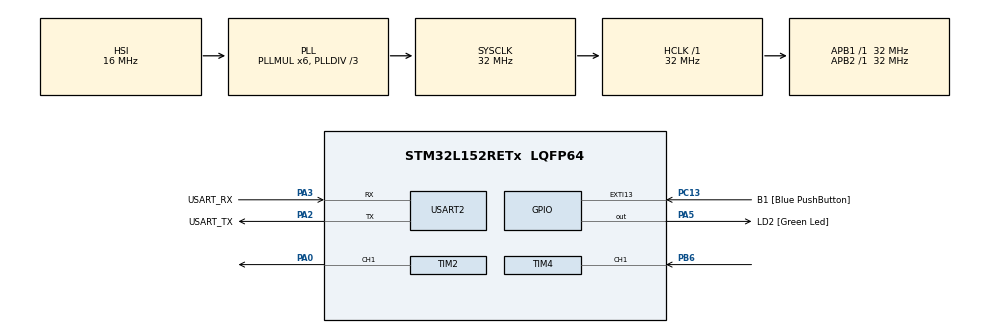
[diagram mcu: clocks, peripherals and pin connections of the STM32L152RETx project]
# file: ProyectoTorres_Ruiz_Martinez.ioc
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Mcu.Family=STM32L1
Mcu.Name=STM32L152RETx
Mcu.Package=LQFP64
NVIC.PriorityGroup=NVIC_PRIORITYGROUP_0
NVIC.TIM3_IRQn=true\:0\:0\:false\:false\:true\:true\:true\:true
NVIC.TIM4_IRQn=true\:0\:0\:false\:false\:true\:true\:true\:true
PA0-WKUP1.Signal=S_TIM2_CH1_ETR
PA13.GPIO_Label=TMS
PA13.Mode=Serial_Wire
PA13.Signal=SYS_JTMS-SWDIO
PA14.GPIO_Label=TCK
PA14.Mode=Serial_Wire
PA14.Signal=SYS_JTCK-SWCLK
PA2.GPIO_Label=USART_TX
PA2.Mode=Asynchronous
PA2.Signal=USART2_TX
PA3.GPIO_Label=USART_RX
PA3.Mode=Asynchronous
PA3.Signal=USART2_RX
PA5.GPIO_Label=LD2 [Green Led]
PA5.Signal=GPIO_Output
PB3.GPIO_Label=SWO
PB3.Signal=SYS_JTDO-TRACESWO
PB6.Signal=S_TIM4_CH1
PC13-WKUP2.GPIO_Label=B1 [Blue PushButton]
PC13-WKUP2.Signal=GPXTI13
PC14-OSC32_IN.Mode=LSE-External-Oscillator
PC14-OSC32_IN.Signal=RCC_OSC32_IN
PC15-OSC32_OUT.Mode=LSE-External-Oscillator
PC15-OSC32_OUT.Signal=RCC_OSC32_OUT
PH0-OSC_IN.Mode=HSE-External-Clock-Source
PH0-OSC_IN.Signal=RCC_OSC_IN
PH1-OSC_OUT.Signal=RCC_OSC_OUT
ProjectManager.HeapSize=0x200
ProjectManager.StackSize=0x400
ProjectManager.TargetToolchain=STM32CubeIDE
RCC.48MHZClocksFreq_Value=48000000
RCC.AHBFreq_Value=32000000
RCC.APB1Freq_Value=32000000
RCC.APB1TimFreq_Value=32000000
RCC.APB2Freq_Value=32000000
RCC.APB2TimFreq_Value=32000000
RCC.HCLKFreq_Value=32000000
RCC.HSE_VALUE=8000000
RCC.HSI_VALUE=16000000
RCC.MSI_VALUE=2097000
RCC.PLLDIV=RCC_PLL_DIV3
RCC.PLLMUL=RCC_PLL_MUL6
RCC.RTCClockSelectionVirtual=RCC_RTCCLKSOURCE_LSE
RCC.SYSCLKFreq_VALUE=32000000
RCC.SYSCLKSource=RCC_SYSCLKSOURCE_PLLCLK
RCC.USBOutput=48000000
RCC.VCOOutputFreq_Value=96000000
SH.S_TIM2_CH1_ETR.0=TIM2_CH1,PWM Generation1 CH1
SH.S_TIM4_CH1.0=TIM4_CH1,Input_Capture1_from_TI1
TIM2.AutoReloadPreload=TIM_AUTORELOAD_PRELOAD_ENABLE
TIM2.Channel-PWM\ Generation1\ CH1=TIM_CHANNEL_1
TIM2.Period=2000-1
TIM2.Prescaler=320-1
TIM3.Period=18
TIM3.Prescaler=31
TIM4.Channel-Input_Capture1_from_TI1=TIM_CHANNEL_1
TIM4.ICPolarity_CH1=TIM_INPUTCHANNELPOLARITY_BOTHEDGE
TIM4.Prescaler=31
USART2.VirtualMode=VM_ASYNC
VP_TIM2_VS_ClockSourceINT.Mode=Internal
VP_TIM3_VS_ClockSourceINT.Mode=Internal
VP_TIM4_VS_ClockSourceINT.Mode=Internal
board=NUCLEO-L152RE

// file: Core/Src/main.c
/* USER CODE BEGIN Header */
/**
  ******************************************************************************
  * @file           : main.c
  * @brief          : Main program body
  ******************************************************************************
  * @attention
  *
  * Copyright (c) 2025 STMicroelectronics.
  * All rights reserved.
  *
  * This software is licensed under terms that can be found in the LICENSE file
  * in the root directory of this software component.
  * If no LICENSE file comes with this software, it is provided AS-IS.
  *
  ******************************************************************************
  */
/* USER CODE END Header */
#include "main.h"

/* USER CODE BEGIN Includes */
#include <stdbool.h>
#include <stdio.h>
#include <string.h>

/* USER CODE END Includes */

TIM_HandleTypeDef htim2;
TIM_HandleTypeDef htim3;
TIM_HandleTypeDef htim4;

UART_HandleTypeDef huart2;

/* USER CODE BEGIN PV */
int ISRCounter = 0;
uint32_t timeThreshold = 50; //50ms para que ignore pulsaciones accidentales
uint32_t startTime1=0, startTime2=0, startTime3=0, startTime4=0;
uint8_t boton;      //variable para girar el servo
int modoManual ; // 1: Modo manual, 0: Modo automático
uint8_t captura=1;
uint32_t X;
uint32_t Y;
uint32_t Z;
uint32_t distancia;
uint8_t send;
uint32_t vpotenciometro;
uint32_t vccr;
/* USER CODE END PV */

void SystemClock_Config(void);
static void MX_GPIO_Init(void);
static void MX_USART2_UART_Init(void);
static void MX_TIM2_Init(void);
static void MX_TIM3_Init(void);
static void MX_TIM4_Init(void);

int main(void)
{

  /* MCU Configuration--------------------------------------------------------*/

  /* Reset of all peripherals, Initializes the Flash interface and the Systick. */
  HAL_Init();

  /* Configure the system clock */
  SystemClock_Config();

  /* Initialize all configured peripherals */
  MX_GPIO_Init();
  MX_USART2_UART_Init();
  MX_TIM2_Init();
  MX_TIM3_Init();
  MX_TIM4_Init();
  /* USER CODE BEGIN 2 */
  RCC->AHBENR |= (RCC_AHBENR_GPIOBEN | RCC_AHBENR_GPIOCEN);// Esto para activar los relojes de los pines
    HAL_TIM_PWM_Start(&htim2, TIM_CHANNEL_1); //Iniciamos la PWM

  // LED LD1 es PC0

    	  // Con el moder es Para ponerlo en digital output  un 0 y un 1
	  	GPIOC->MODER   &= ~(1<<(2*0+1)); //Aqui un 0 en bit 1
        GPIOC->MODER   |=  (1<<2*0);// Aqui un 1 en el bit 0
        //Con el PUPDR lo ponemos a 00 ambos bits para que no haya ni pull up ni pull down
        GPIOC->PUPDR &= ~(1 << (2*0));     // Borra el bit 0 de PUPDR0 (PC0)
        GPIOC->PUPDR &= ~(1 << (2*0+1)); // Borra el bit 1 de PUPDR0 (PC0)//

  // LED LD2 es PC1

        // Con el moder es Para ponerlo en digital output  un 0 y un 1
        GPIOC->MODER   &= ~(1<<(2*1+1));//Aqui un 0 en bit 3
        GPIOC->MODER   |=  (1<<2*1);// Aqui un 1 en el bit 2
        //Con el PUPDR lo ponemos a 00 ambos bits para que no haya ni pull up ni pull down
        GPIOC->PUPDR &= ~(1 << (2*1));     // Borra el bit 2 de PUPDR0 (PC1)
        GPIOC->PUPDR &= ~(1 << (2 *1+1)); // Borra el bit 3 de PUPDR0 (PC1)

  // Boton USER (B1) es PC13
        GPIOC->MODER &= ~(1 << (2*13));     // Borra el bit 0 de MODER13 (pin de entrada)
        GPIOC->MODER &= ~(1 << (2*13 + 1)); // Borra el bit 1 de MODER13 (pin de entrada)
        GPIOC->PUPDR &= ~(1 << (2*13));     // Borra el bit 0 de PUPDR13 (sin resistencia pull-up o pull-down)
        GPIOC->PUPDR |= (1 << (2*13 + 1));  // Activa resistencia pull-down en PC13 (por defecto)

  // Interrupción EXTI13 para PC13
        EXTI->FTSR |=  (1<<13);             // Habilita la señal de bajada (flanco de bajada)
        EXTI->RTSR &= ~(1<<13);             // Deshabilita el flanco de subida
        SYSCFG->EXTICR[3] &= ~((1<<4)|(1<<5)|(1<<6)|(1<<7)); // Borra bits de configuración para EXTI13
        SYSCFG->EXTICR[3] |= (2<<4);       // Asigna el pin PC13 al EXTI13
        EXTI->IMR |= (1<<13);              // Habilita la interrupción para EXTI13
        NVIC->ISER[1] |= (1<<8);          // Habilita la interrupción en el NVIC para EXTI13

  // Boton B1 es PB1

        GPIOB->MODER &= ~(1 << (2*1));     // Borra el bit 0 de MODER1
        GPIOB->MODER &= ~(1 << (2*1 +1)); // Borra el bit 1 de MODER1
        // Configurar PUPDR (resistencias pull-up/pull-down en PB1)
        GPIOB->PUPDR &= ~(1 << (2*1));     // Borra el bit 0 de PUPDR1
        GPIOB->PUPDR &= ~(1 << (2*1 +1)); // Borra el bit 1 de PUPDR1

  // Interrupcion EXTI1 a PB1

        EXTI->FTSR |=  (1<<1);         // Habilita la señal de bajada
        EXTI->RTSR &= ~(1<<1);         //Desabilita el flanco de subida
        SYSCFG->EXTICR[0] &= ((1<<4)|(1<<5)|(1<<6)|(1<<7));//~0b1111;  //borrar bits
        SYSCFG->EXTICR[0] |= (1<<4); //0b0001;  //Asignar del pin 0 al pin 3 del GPIOB
        EXTI->IMR |= (1<<1);
        NVIC->ISER[0] |= (1<<7);

  // Boton B2 es PB2

        GPIOB->MODER &= ~(1 << (2*2));     // Borra el bit 0 de MODER1
        GPIOB->MODER &= ~(1 << (2*2 +1)); // Borra el bit 1 de MODER1
        // Configurar PUPDR (resistencias pull-up/pull-down en PB1)
        GPIOB->PUPDR &= ~(1 << (2*2));     // Borra el bit 0 de PUPDR1
        GPIOB->PUPDR &= ~(1 << (2*2+1)); // Borra el bit 1 de PUPDR1

  // Interrupcion EXTI2 a PB2

        EXTI->FTSR |=  (1<<2);
        EXTI->RTSR &= ~(1<<2);
        SYSCFG->EXTICR[0] &= ~((1<<8)|(1<<9)|(1<<10)|(1<<11));//((1<<4)|(1<<5)|(1<<6)|(1<<7));
        SYSCFG->EXTICR[0] |=  (1<<8);//(1<<4);
        EXTI->IMR |= (1<<2);
        NVIC->ISER[0] |= (1<<8);

  // Boton B3 es PB3

        GPIOB->MODER &= ~(1 << (2*3));     // Borra el bit 0 de MODER1
        GPIOB->MODER &= ~(1 << (2*3+1)); // Borra el bit 1 de MODER1
        // Configurar PUPDR (resistencias pull-up/pull-down en PB1)
        GPIOB->PUPDR &= ~(1 << (2*3));     // Borra el bit 0 de PUPDR1
        GPIOB->PUPDR &= ~(1 << (2*3+1)); // Borra el bit 1 de PUPDR1

  // Interrupcion EXTI3

        EXTI->FTSR |=  (1<<3);
        EXTI->RTSR &= ~(1<<3);
        SYSCFG->EXTICR[0] &= ~ ((1<<12)|(1<<13)|(1<<14)|(1<<15));//~((1<<8)|(1<<9)|(1<<10)|(1<<11));
        SYSCFG->EXTICR[0] |= (1<<12);//(1<<8);
        EXTI->IMR |= (1<<3);
        NVIC->ISER[0] |= (1<<9);

  // Boton B4 es PB4

        GPIOB->MODER &= ~(1 << (2*4));     // Borra el bit 0 de MODER1
        GPIOB->MODER &= ~(1 << (2*4+1)); // Borra el bit 1 de MODER1
        // Configurar PUPDR (resistencias pull-up/pull-down en PB1)
        GPIOB->PUPDR &= ~(1 << (2*4));     // Borra el bit 0 de PUPDR1
        GPIOB->PUPDR &= ~(1 << (2*4+1)); // Borra el bit 1 de PUPDR1

  // Interrupcion EXTI4

        EXTI->FTSR |=  (1<<4);
        EXTI->RTSR &= ~(1<<4);
        SYSCFG->EXTICR[1] &= ~ ((1<<0)|(1<<1)|(1<<2)|(1<<3));//((1<<12)|(1<<13)|(1<<14)|(1<<15));
        SYSCFG->EXTICR[1] |= (1<<0); //(1<<12);
        EXTI->IMR |= (1<<4);
        NVIC->ISER[0] |= (1<<10);

   //Indicamos un valor de PWM para que vuela a la posicion inicial
   __HAL_TIM_SET_COMPARE(&htim2, TIM_CHANNEL_1, 150);
   char buf[50];  // Buffer para el mensaje
  /* USER CODE END 2 */
   modoManual=1;
  /* Infinite loop */
  /* USER CODE BEGIN WHILE */
   HAL_TIM_PWM_Start(&htim2, TIM_CHANNEL_1);  //activa la señal PWM en el canal 1
   GPIOC->MODER &= ~(0x03 << (2 * 4));   // Limpiar los bits 8 y 9 (modo de PC4)
   GPIOC->MODER |= (0x01 << (2 * 4));    // Establecer PC4 como salida (01 en MODER)
   // Configuramos el pin PC4 para que no use resistencias pull-up ni pull-down
   GPIOC->PUPDR &= ~(0x03 << (2 * 4));

   while (1)
      {
          if (modoManual == 1)
          {
              switch (boton)
              {
                  case 1:  //Boton==1

                	  //Movimiento del servo 50=1ms -> -90º
                      __HAL_TIM_SET_COMPARE(&htim2, TIM_CHANNEL_1, 50); //50=1ms -90º

                      //Medicion de la distancia
                      GPIOC->BSRR |= (1 << 4); // Trigger HIGH (PC4)
                      __HAL_TIM_SET_COUNTER(&htim3, 0);
                      HAL_TIM_Base_Start_IT(&htim3); // Temporizador para bajar el Trigger después de 10 us
                      __HAL_TIM_SET_COUNTER(&htim4, 0); //Reseteo para evitar valores residuales
                      HAL_TIM_IC_Start_IT(&htim4, TIM_CHANNEL_1); // Activar captura de Echo

                      sprintf(buf, "La distancia es: %lu mm\r\n", distancia);
                      HAL_UART_Transmit(&huart2, (uint8_t *)buf, strlen(buf), 0xFFFFFFFF);

                      //Captura y reinicio
                      captura = 0; //Ya capturado
                      boton = 0; //Reinicia el boton
                      break;

                  case 2:  //Boton==2

                      //Movimiento del servo 100=1.3ms -> -30º
                      __HAL_TIM_SET_COMPARE(&htim2, TIM_CHANNEL_1, 100); //50=1ms -30º

                      //Medicion de la distancia
                      GPIOC->BSRR |= (1 << 4); // Trigger HIGH (PC4)
                      __HAL_TIM_SET_COUNTER(&htim3, 0);
                      HAL_TIM_Base_Start_IT(&htim3); // Temporizador para bajar el Trigger después de 10 us
                      __HAL_TIM_SET_COUNTER(&htim4, 0); //Reseteo para evitar valores residuales
                      HAL_TIM_IC_Start_IT(&htim4, TIM_CHANNEL_1); // Activar captura de Echo

                      sprintf(buf, "La distancia es: %lu mm\r\n", distancia);
                      HAL_UART_Transmit(&huart2, (uint8_t *)buf, strlen(buf), 0xFFFFFFFF);

                      //Captura y reinicio
                      captura = 0; //Ya capturado
                      boton = 0; //Reinicia el boton
                      break;

                  case 3:  //Boton==3
                      //Movimiento del servo 200=1ms -> -30º
                      __HAL_TIM_SET_COMPARE(&htim2, TIM_CHANNEL_1, 200); //200=1.8ms 30º

                      //Medicion de la distancia
                      GPIOC->BSRR |= (1 << 4); // Trigger HIGH (PC4)
                      __HAL_TIM_SET_COUNTER(&htim3, 0);
                      HAL_TIM_Base_Start_IT(&htim3); // Temporizador para bajar el Trigger después de 10 us
                      __HAL_TIM_SET_COUNTER(&htim4, 0); //Reseteo para evitar valores residuales
                      HAL_TIM_IC_Start_IT(&htim4, TIM_CHANNEL_1); // Activar captura de Echo

                      sprintf(buf, "La distancia es: %lu mm\r\n", distancia);
                      HAL_UART_Transmit(&huart2, (uint8_t *)buf, strlen(buf), 0xFFFFFFFF);

                      //Captura y reinicio
                      captura = 0; //Ya capturado
                      boton = 0; //Reinicia el boton
                      break;

                  case 4: //Boton==4

                	  //Movimiento del servo 250=2ms -> 90º
                      __HAL_TIM_SET_COMPARE(&htim2, TIM_CHANNEL_1, 250); //250=2ms 90º

                      //Medicion de la distancia
                      GPIOC->BSRR |= (1 << 4); // Trigger HIGH (PC4)
                      __HAL_TIM_SET_COUNTER(&htim3, 0);
                      HAL_TIM_Base_Start_IT(&htim3); // Temporizador para bajar el Trigger después de 10 us
                      __HAL_TIM_SET_COUNTER(&htim4, 0); //Reseteo para evitar valores residuales
                      HAL_TIM_IC_Start_IT(&htim4, TIM_CHANNEL_1); // Activar captura de Echo

                      sprintf(buf, "La distancia es: %lu mm\r\n", distancia);
                      HAL_UART_Transmit(&huart2, (uint8_t *)buf, strlen(buf), 0xFFFFFFFF);

                      //Captura y reinicio
                      captura = 0; //Ya capturado
                      boton = 0; //Reinicia el boton
                      break;
              }
          }
          // Control en modo automático(modoManual == 0)// Si está en modo automático
          else if(modoManual==0)
          {
		  //Movimiento del servo 50=1ms -> -90º
        	  __HAL_TIM_SET_COMPARE(&htim2, TIM_CHANNEL_1, 50); //50=1ms -90

        	  //Medicion de la distancia
        	  GPIOC->BSRR |= (1 << 4); // Trigger HIGH (PC4)
        	  __HAL_TIM_SET_COUNTER(&htim3, 0);
        	  HAL_TIM_Base_Start_IT(&htim3); // Temporizador para bajar el Trigger después de 10 us
        	  __HAL_TIM_SET_COUNTER(&htim4, 0); //Reseteo para evitar valores residuales
        	  HAL_TIM_IC_Start_IT(&htim4, TIM_CHANNEL_1); // Activar captura de Echo

        	  sprintf(buf, "La distancia es: %lu mm\r\n", distancia);
        	  HAL_UART_Transmit(&huart2, (uint8_t *)buf, strlen(buf), 0xFFFFFFFF);

        	  //Captura
        	  captura = 0; //Ya capturado

		  //Movimiento del servo 100=1.3ms -> -30º
        	  __HAL_TIM_SET_COMPARE(&htim2, TIM_CHANNEL_1, 100); //100=1.3ms -30º

        	  //Medicion de la distancia
        	  GPIOC->BSRR |= (1 << 4); // Trigger HIGH (PC4)
        	  __HAL_TIM_SET_COUNTER(&htim3, 0);
        	  HAL_TIM_Base_Start_IT(&htim3); // Temporizador para bajar el Trigger después de 10 us
        	  __HAL_TIM_SET_COUNTER(&htim4, 0); //Reseteo para evitar valores residuales
        	  HAL_TIM_IC_Start_IT(&htim4, TIM_CHANNEL_1); // Activar captura de Echo

        	  sprintf(buf, "La distancia es: %lu mm\r\n", distancia);
        	  HAL_UART_Transmit(&huart2, (uint8_t *)buf, strlen(buf), 0xFFFFFFFF);

        	  //Captura
        	  captura = 0; //Ya capturado

		  //Movimiento del servo 200=1.8ms -> 30º
        	  __HAL_TIM_SET_COMPARE(&htim2, TIM_CHANNEL_1, 200); //50=1ms 30º

        	  //Medicion de la distancia
        	  GPIOC->BSRR |= (1 << 4); // Trigger HIGH (PC4)
        	  __HAL_TIM_SET_COUNTER(&htim3, 0);
        	  HAL_TIM_Base_Start_IT(&htim3); // Temporizador para bajar el Trigger después de 10 us
        	  __HAL_TIM_SET_COUNTER(&htim4, 0); //Reseteo para evitar valores residuales
        	  HAL_TIM_IC_Start_IT(&htim4, TIM_CHANNEL_1); // Activar captura de Echo

        	  sprintf(buf, "La distancia es: %lu mm\r\n", distancia);
        	  HAL_UART_Transmit(&huart2, (uint8_t *)buf, strlen(buf), 0xFFFFFFFF);

        	  //Captura
        	  captura = 0; //Ya capturado

		  //Movimiento del servo 250=1ms -> 90º
        	  __HAL_TIM_SET_COMPARE(&htim2, TIM_CHANNEL_1, 250); //50=1ms 90º

        	  //Medicion de la distancia
        	  GPIOC->BSRR |= (1 << 4); // Trigger HIGH (PC4)
        	  __HAL_TIM_SET_COUNTER(&htim3, 0);
        	  HAL_TIM_Base_Start_IT(&htim3); // Temporizador para bajar el Trigger después de 10 us
        	  __HAL_TIM_SET_COUNTER(&htim4, 0); //Reseteo para evitar valores residuales
        	  HAL_TIM_IC_Start_IT(&htim4, TIM_CHANNEL_1); // Activar captura de Echo

        	  sprintf(buf, "La distancia es: %lu mm\r\n", distancia);
        	  HAL_UART_Transmit(&huart2, (uint8_t *)buf, strlen(buf), 0xFFFFFFFF);

        	  //Captura
        	  captura = 0; //Ya capturado

          }
      }
  /* USER CODE END 3 */
}

void HAL_TIM_PeriodElapsedCallback (TIM_HandleTypeDef *htim)
{
	if(htim->Instance==TIM3) //control de pulso
	{
		GPIOC->BSRR |= (1<<20); //reset EL TRIGGER
		//captura =0;
	}
}
void HAL_TIM_IC_CaptureCallback(TIM_HandleTypeDef*htim)
{
	if(htim->Channel==HAL_TIM_ACTIVE_CHANNEL_1)
	{
		if(captura==0) //si captura es 0
		{
			X=HAL_TIM_ReadCapturedValue(htim,TIM_CHANNEL_1); //Captiramos el valor en X
			captura=1;                                       //Ya capurado
		}
		else
		{

			Y=HAL_TIM_ReadCapturedValue(htim,TIM_CHANNEL_1); // Si captura no es 1 se captura en Y

			if(Y>X)
			{
				Z=Y-X;
				distancia=(Z*10)/58;    //Calculamos la diferencia
				send=1;                //Activamos
			}
			else if(X>Y)
			{				//Significa que hay desbordamiento
				Z=(0xffff-X)+Y;
				distancia=(Z*10)/58;
				send=1;
			}
		}
	}
}
void SystemClock_Config(void)
{
  RCC_OscInitTypeDef RCC_OscInitStruct = {0};
  RCC_ClkInitTypeDef RCC_ClkInitStruct = {0};

  /** Configure the main internal regulator output voltage
  */
  __HAL_PWR_VOLTAGESCALING_CONFIG(PWR_REGULATOR_VOLTAGE_SCALE1);

  /** Initializes the RCC Oscillators according to the specified parameters
  * in the RCC_OscInitTypeDef structure.
  */
  RCC_OscInitStruct.OscillatorType = RCC_OSCILLATORTYPE_HSI;
  RCC_OscInitStruct.HSIState = RCC_HSI_ON;
  RCC_OscInitStruct.HSICalibrationValue = RCC_HSICALIBRATION_DEFAULT;
  RCC_OscInitStruct.PLL.PLLState = RCC_PLL_ON;
  RCC_OscInitStruct.PLL.PLLSource = RCC_PLLSOURCE_HSI;
  RCC_OscInitStruct.PLL.PLLMUL = RCC_PLL_MUL6;
  RCC_OscInitStruct.PLL.PLLDIV = RCC_PLL_DIV3;
  if (HAL_RCC_OscConfig(&RCC_OscInitStruct) != HAL_OK)
  {
    Error_Handler();
  }

  /** Initializes the CPU, AHB and APB buses clocks
  */
  RCC_ClkInitStruct.ClockType = RCC_CLOCKTYPE_HCLK|RCC_CLOCKTYPE_SYSCLK
                              |RCC_CLOCKTYPE_PCLK1|RCC_CLOCKTYPE_PCLK2;
  RCC_ClkInitStruct.SYSCLKSource = RCC_SYSCLKSOURCE_PLLCLK;
  RCC_ClkInitStruct.AHBCLKDivider = RCC_SYSCLK_DIV1;
  RCC_ClkInitStruct.APB1CLKDivider = RCC_HCLK_DIV1;
  RCC_ClkInitStruct.APB2CLKDivider = RCC_HCLK_DIV1;

  if (HAL_RCC_ClockConfig(&RCC_ClkInitStruct, FLASH_LATENCY_1) != HAL_OK)
  {
    Error_Handler();
  }
}

static void MX_TIM2_Init(void)
{

  TIM_ClockConfigTypeDef sClockSourceConfig = {0};
  TIM_MasterConfigTypeDef sMasterConfig = {0};
  TIM_OC_InitTypeDef sConfigOC = {0};

  htim2.Instance = TIM2;
  htim2.Init.Prescaler = 320-1;
  htim2.Init.CounterMode = TIM_COUNTERMODE_UP;
  htim2.Init.Period = 2000-1;
  htim2.Init.ClockDivision = TIM_CLOCKDIVISION_DIV1;
  htim2.Init.AutoReloadPreload = TIM_AUTORELOAD_PRELOAD_ENABLE;
  if (HAL_TIM_Base_Init(&htim2) != HAL_OK)
  {
    Error_Handler();
  }
  sClockSourceConfig.ClockSource = TIM_CLOCKSOURCE_INTERNAL;
  if (HAL_TIM_ConfigClockSource(&htim2, &sClockSourceConfig) != HAL_OK)
  {
    Error_Handler();
  }
  if (HAL_TIM_PWM_Init(&htim2) != HAL_OK)
  {
    Error_Handler();
  }
  sMasterConfig.MasterOutputTrigger = TIM_TRGO_RESET;
  sMasterConfig.MasterSlaveMode = TIM_MASTERSLAVEMODE_DISABLE;
  if (HAL_TIMEx_MasterConfigSynchronization(&htim2, &sMasterConfig) != HAL_OK)
  {
    Error_Handler();
  }
  sConfigOC.OCMode = TIM_OCMODE_PWM1;
  sConfigOC.Pulse = 0;
  sConfigOC.OCPolarity = TIM_OCPOLARITY_HIGH;
  sConfigOC.OCFastMode = TIM_OCFAST_DISABLE;
  if (HAL_TIM_PWM_ConfigChannel(&htim2, &sConfigOC, TIM_CHANNEL_1) != HAL_OK)
  {
    Error_Handler();
  }
  HAL_TIM_MspPostInit(&htim2);

}

static void MX_TIM3_Init(void)
{

  TIM_ClockConfigTypeDef sClockSourceConfig = {0};
  TIM_MasterConfigTypeDef sMasterConfig = {0};

  htim3.Instance = TIM3;
  htim3.Init.Prescaler = 31;
  htim3.Init.CounterMode = TIM_COUNTERMODE_UP;
  htim3.Init.Period = 18;
  htim3.Init.ClockDivision = TIM_CLOCKDIVISION_DIV1;
  htim3.Init.AutoReloadPreload = TIM_AUTORELOAD_PRELOAD_DISABLE;
  if (HAL_TIM_Base_Init(&htim3) != HAL_OK)
  {
    Error_Handler();
  }
  sClockSourceConfig.ClockSource = TIM_CLOCKSOURCE_INTERNAL;
  if (HAL_TIM_ConfigClockSource(&htim3, &sClockSourceConfig) != HAL_OK)
  {
    Error_Handler();
  }
  sMasterConfig.MasterOutputTrigger = TIM_TRGO_RESET;
  sMasterConfig.MasterSlaveMode = TIM_MASTERSLAVEMODE_DISABLE;
  if (HAL_TIMEx_MasterConfigSynchronization(&htim3, &sMasterConfig) != HAL_OK)
  {
    Error_Handler();
  }

}

static void MX_TIM4_Init(void)
{

  TIM_ClockConfigTypeDef sClockSourceConfig = {0};
  TIM_MasterConfigTypeDef sMasterConfig = {0};
  TIM_IC_InitTypeDef sConfigIC = {0};

  htim4.Instance = TIM4;
  htim4.Init.Prescaler = 31;
  htim4.Init.CounterMode = TIM_COUNTERMODE_UP;
  htim4.Init.Period = 65535;
  htim4.Init.ClockDivision = TIM_CLOCKDIVISION_DIV1;
  htim4.Init.AutoReloadPreload = TIM_AUTORELOAD_PRELOAD_DISABLE;
  if (HAL_TIM_Base_Init(&htim4) != HAL_OK)
  {
    Error_Handler();
  }
  sClockSourceConfig.ClockSource = TIM_CLOCKSOURCE_INTERNAL;
  if (HAL_TIM_ConfigClockSource(&htim4, &sClockSourceConfig) != HAL_OK)
  {
    Error_Handler();
  }
  if (HAL_TIM_IC_Init(&htim4) != HAL_OK)
  {
    Error_Handler();
  }
  sMasterConfig.MasterOutputTrigger = TIM_TRGO_RESET;
  sMasterConfig.MasterSlaveMode = TIM_MASTERSLAVEMODE_DISABLE;
  if (HAL_TIMEx_MasterConfigSynchronization(&htim4, &sMasterConfig) != HAL_OK)
  {
    Error_Handler();
  }
  sConfigIC.ICPolarity = TIM_INPUTCHANNELPOLARITY_BOTHEDGE;
  sConfigIC.ICSelection = TIM_ICSELECTION_DIRECTTI;
  sConfigIC.ICPrescaler = TIM_ICPSC_DIV1;
  sConfigIC.ICFilter = 0;
  if (HAL_TIM_IC_ConfigChannel(&htim4, &sConfigIC, TIM_CHANNEL_1) != HAL_OK)
  {
    Error_Handler();
  }

}

static void MX_USART2_UART_Init(void)
{

  huart2.Instance = USART2;
  huart2.Init.BaudRate = 115200;
  huart2.Init.WordLength = UART_WORDLENGTH_8B;
  huart2.Init.StopBits = UART_STOPBITS_1;
  huart2.Init.Parity = UART_PARITY_NONE;
  huart2.Init.Mode = UART_MODE_TX_RX;
  huart2.Init.HwFlowCtl = UART_HWCONTROL_NONE;
  huart2.Init.OverSampling = UART_OVERSAMPLING_16;
  if (HAL_UART_Init(&huart2) != HAL_OK)
  {
    Error_Handler();
  }

}

static void MX_GPIO_Init(void)
{
  GPIO_InitTypeDef GPIO_InitStruct = {0};

  /* GPIO Ports Clock Enable */
  __HAL_RCC_GPIOC_CLK_ENABLE();
  __HAL_RCC_GPIOH_CLK_ENABLE();
  __HAL_RCC_GPIOA_CLK_ENABLE();
  __HAL_RCC_GPIOB_CLK_ENABLE();

  /*Configure GPIO pin Output Level */
  HAL_GPIO_WritePin(LD2_GPIO_Port, LD2_Pin, GPIO_PIN_RESET);

  /*Configure GPIO pin : B1_Pin */
  GPIO_InitStruct.Pin = B1_Pin;
  GPIO_InitStruct.Mode = GPIO_MODE_IT_RISING;
  GPIO_InitStruct.Pull = GPIO_NOPULL;
  HAL_GPIO_Init(B1_GPIO_Port, &GPIO_InitStruct);

  /*Configure GPIO pin : LD2_Pin */
  GPIO_InitStruct.Pin = LD2_Pin;
  GPIO_InitStruct.Mode = GPIO_MODE_OUTPUT_PP;
  GPIO_InitStruct.Pull = GPIO_NOPULL;
  GPIO_InitStruct.Speed = GPIO_SPEED_FREQ_LOW;
  HAL_GPIO_Init(LD2_GPIO_Port, &GPIO_InitStruct);

}

/* USER CODE BEGIN 4 */
void EXTI1_IRQHandler(void)
{
	if(HAL_GetTick()-startTime1 > timeThreshold) //If para el sistema antirrebotes
	{
		ISRCounter++;
		startTime1= HAL_GetTick();
		if (( EXTI->PR & (1<<1) )!=0)
		{
			GPIOC->BSRR = (1<<0)<<16; //Apaga
			GPIOC->BSRR = (1<<1)<<16; //Apaga
			EXTI->PR |= (1<<1);

			boton=1; //indicamos que boton se pulsa -90 grados
			modoManual=1;

		}
	}
}
void EXTI2_IRQHandler(void)
{
	if(HAL_GetTick()-startTime2 > timeThreshold) //If para el sistema antirrebotes
	{
		ISRCounter++;
		startTime2= HAL_GetTick();
		if (( EXTI->PR & (1<<2) )!=0)
		{
			GPIOC->BSRR = (1<<0)<<16; //Apaga
			GPIOC->BSRR = (1<<1);     //Enciende
			EXTI->PR |= (1<<2);

			boton=2;  //-30 grados
			modoManual=1;
		}
	}
}
void EXTI3_IRQHandler(void)
{
	if(HAL_GetTick()-startTime3 > timeThreshold) //If para el sistema antirrebotes
	{
		ISRCounter++;
		startTime3= HAL_GetTick();
		if (( EXTI->PR & (1<<3) )!=0)
		{
			GPIOC->BSRR = (1<<0);     //Enciende
			GPIOC->BSRR = (1<<1)<<16; //Apaga
			EXTI->PR |= (1<<3);

			boton=3;  //30 grados
			modoManual=1;
		}
	}
}
void EXTI4_IRQHandler(void)
{
	if(HAL_GetTick()-startTime4 > timeThreshold) //If para el sistema antirrebotes
	{
		ISRCounter++;
		startTime4= HAL_GetTick();
		if (( EXTI->PR & (1<<4) )!=0)
		{
			GPIOC->BSRR = (1<<0); //Enciende
			GPIOC->BSRR = (1<<1); //Enciende
			EXTI->PR |= (1<<4);

			boton=4; //90 grados
			modoManual=1;
		}
	}
}
void EXTI15_10_IRQHandler(void)  // EXTI13 está en este rango
{
   if (HAL_GetTick() - startTime1 > timeThreshold)  // Si para el sistema antirrebotes
    {
        ISRCounter++;
        //startTime1 = HAL_GetTick();
        if ((EXTI->PR & (1 << 13)) != 0)  // Si la bandera de interrupción EXTI13 está activada
        {
            EXTI->PR |= (1 << 13);  // Limpiar la bandera de la interrupción

            modoManual=!modoManual;
        }
    }
}
/* USER CODE END 4 */

void Error_Handler(void)
{
  __disable_irq();
  while (1)
  {
  }
}
